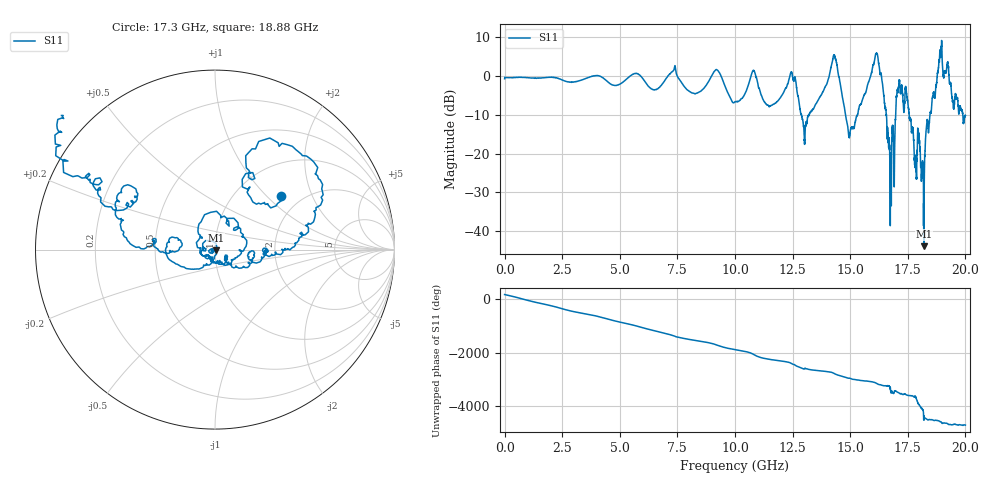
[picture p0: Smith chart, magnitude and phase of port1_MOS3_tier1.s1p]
! Created with skrf 1.8.0 (http://scikit-rf.org).
# GHz S RI R 50.0
!freq ReS11 ImS11
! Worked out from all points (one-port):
!   10001 points, 1 MHz to 20 GHz, reference 50 ohm
!   lowest |S11| = -43.9 dB at 18.21 GHz (marker M1), VSWR 1.01, Z = 50.5 - j0.433 ohm
!   |S11| at or under -10 dB: 14.8 GHz to 15.32 GHz (516.7 MHz wide, 3.43 % of centre); 16.57 GHz to 16.98 GHz (404.4 MHz wide, 2.41 % of centre); 17.56 GHz to 18.46 GHz (897.9 MHz wide, 4.99 % of centre) (the widest 3 of 7)
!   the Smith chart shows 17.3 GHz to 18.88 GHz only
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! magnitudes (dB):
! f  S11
! 1 MHz  -0.7
! 2.501 GHz  -1.0
! 5.001 GHz  -2.1
! 7.501 GHz  -0.1
! 8.299 GHz  -4.5
! 9.227 GHz  1.6
! 10 GHz  -6.6
! 10.79 GHz  1.4
! 11.49 GHz  -7.8
! 12.5 GHz  -0.1
! 13.04 GHz  -14.5
! 14.33 GHz  5.0
! 15 GHz  -14.3
! 16.12 GHz  5.7
! 16.41 GHz  -2.2
! 16.7 GHz  -19.1
! 16.83 GHz  -12.7
! 17.09 GHz  -3.3
! 17.5 GHz  -6.7
! 17.82 GHz  -22.9
! 17.99 GHz  -15.1
! 18.13 GHz  -25.2
! 18.21 GHz  -43.9
! 18.36 GHz  -11.3
! 18.91 GHz  5.6
! 19.28 GHz  0.9
! 19.46 GHz  -6.4
! 20 GHz  -10.1
